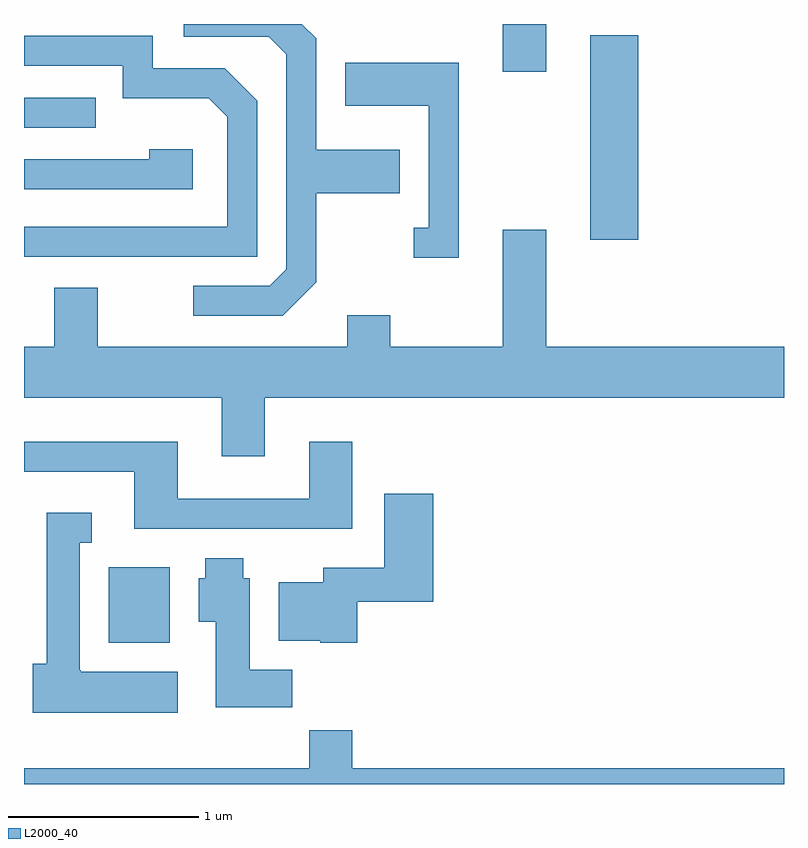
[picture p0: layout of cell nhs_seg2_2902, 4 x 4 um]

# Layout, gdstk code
import gdstk
lib = gdstk.Library(unit=1e-6, precision=1e-09)
def R(c, l, rs):  # rectangles x0, y0, x1, y1
    for r in rs: c.add(gdstk.rectangle(r[:2], r[2:], *l))
def P(c, l, *ps):  # polygons
    for p in ps: c.add(gdstk.Polygon(p, *l))
L2000_40 = (2000, 40)

nhs_seg2_2902 = lib.new_cell('nhs_seg2_2902')
R(nhs_seg2_2902, L2000_40, [(270.056,1082.546,270.379,1082.944), (272.591,1084.666,272.844,1085.744), (269.611,1085.256,269.988,1085.414), (272.131,1085.551,272.359,1085.802)])
P(nhs_seg2_2902, L2000_40, [(271.149,1084.444),(271.149,1084.911),(271.589,1084.911),(271.589,1085.139),(271.149,1085.139),(271.149,1085.727),(271.074,1085.802),(270.453,1085.802),(270.453,1085.736),(270.899,1085.736),(270.991,1085.644),(270.991,1084.512),(270.904,1084.424),(270.503,1084.424),(270.503,1084.266),(270.972,1084.266)],
  [(270.839,1085.397),(270.667,1085.569),(270.289,1085.569),(270.289,1085.739),(269.611,1085.739),(269.611,1085.581),(270.131,1085.581),(270.131,1085.411),(270.584,1085.411),(270.681,1085.314),(270.681,1084.734),(269.611,1084.734),(269.611,1084.576),(270.839,1084.576)],
  [(271.899,1085.599),(271.301,1085.599),(271.301,1085.371),(271.741,1085.371),(271.741,1084.729),(271.663,1084.729),(271.663,1084.571),(271.899,1084.571)],
  [(270.499,1085.144),(270.271,1085.144),(270.271,1085.089),(269.611,1085.089),(269.611,1084.931),(270.499,1084.931)],
  [(270.879,1083.836),(273.611,1083.836),(273.611,1084.104),(272.359,1084.104),(272.359,1084.719),(272.131,1084.719),(272.131,1084.104),(271.539,1084.104),(271.539,1084.269),(271.311,1084.269),(271.311,1084.104),(269.999,1084.104),(269.999,1084.414),(269.771,1084.414),(269.771,1084.104),(269.611,1084.104),(269.611,1083.836),(270.651,1083.836),(270.651,1083.526),(270.879,1083.526)],
  [(271.339,1083.604),(271.111,1083.604),(271.111,1083.304),(270.419,1083.304),(270.419,1083.604),(269.611,1083.604),(269.611,1083.446),(270.191,1083.446),(270.191,1083.146),(271.339,1083.146)],
  [(271.364,1082.761),(271.764,1082.761),(271.764,1083.329),(271.506,1083.329),(271.506,1082.939),(271.186,1082.939),(271.186,1082.864),(270.951,1082.864),(270.951,1082.556),(271.17,1082.556),(271.17,1082.546),(271.364,1082.546)],
  [(270.419,1082.394),(269.91,1082.394),(269.91,1082.4),(269.904,1082.4),(269.904,1083.071),(269.968,1083.071),(269.968,1083.229),(269.731,1083.229),(269.731,1082.434),(269.656,1082.434),(269.656,1082.176),(270.419,1082.176)],
  [(271.024,1082.404),(270.799,1082.404),(270.799,1082.884),(270.764,1082.884),(270.764,1082.989),(270.566,1082.989),(270.566,1082.884),(270.531,1082.884),(270.531,1082.656),(270.621,1082.656),(270.621,1082.206),(271.024,1082.206)],
  [(273.611,1081.884),(271.339,1081.884),(271.339,1082.084),(271.111,1082.084),(271.111,1081.884),(269.611,1081.884),(269.611,1081.802),(273.611,1081.802)])

lib.write_gds('nhs_seg2_2902.gds')
